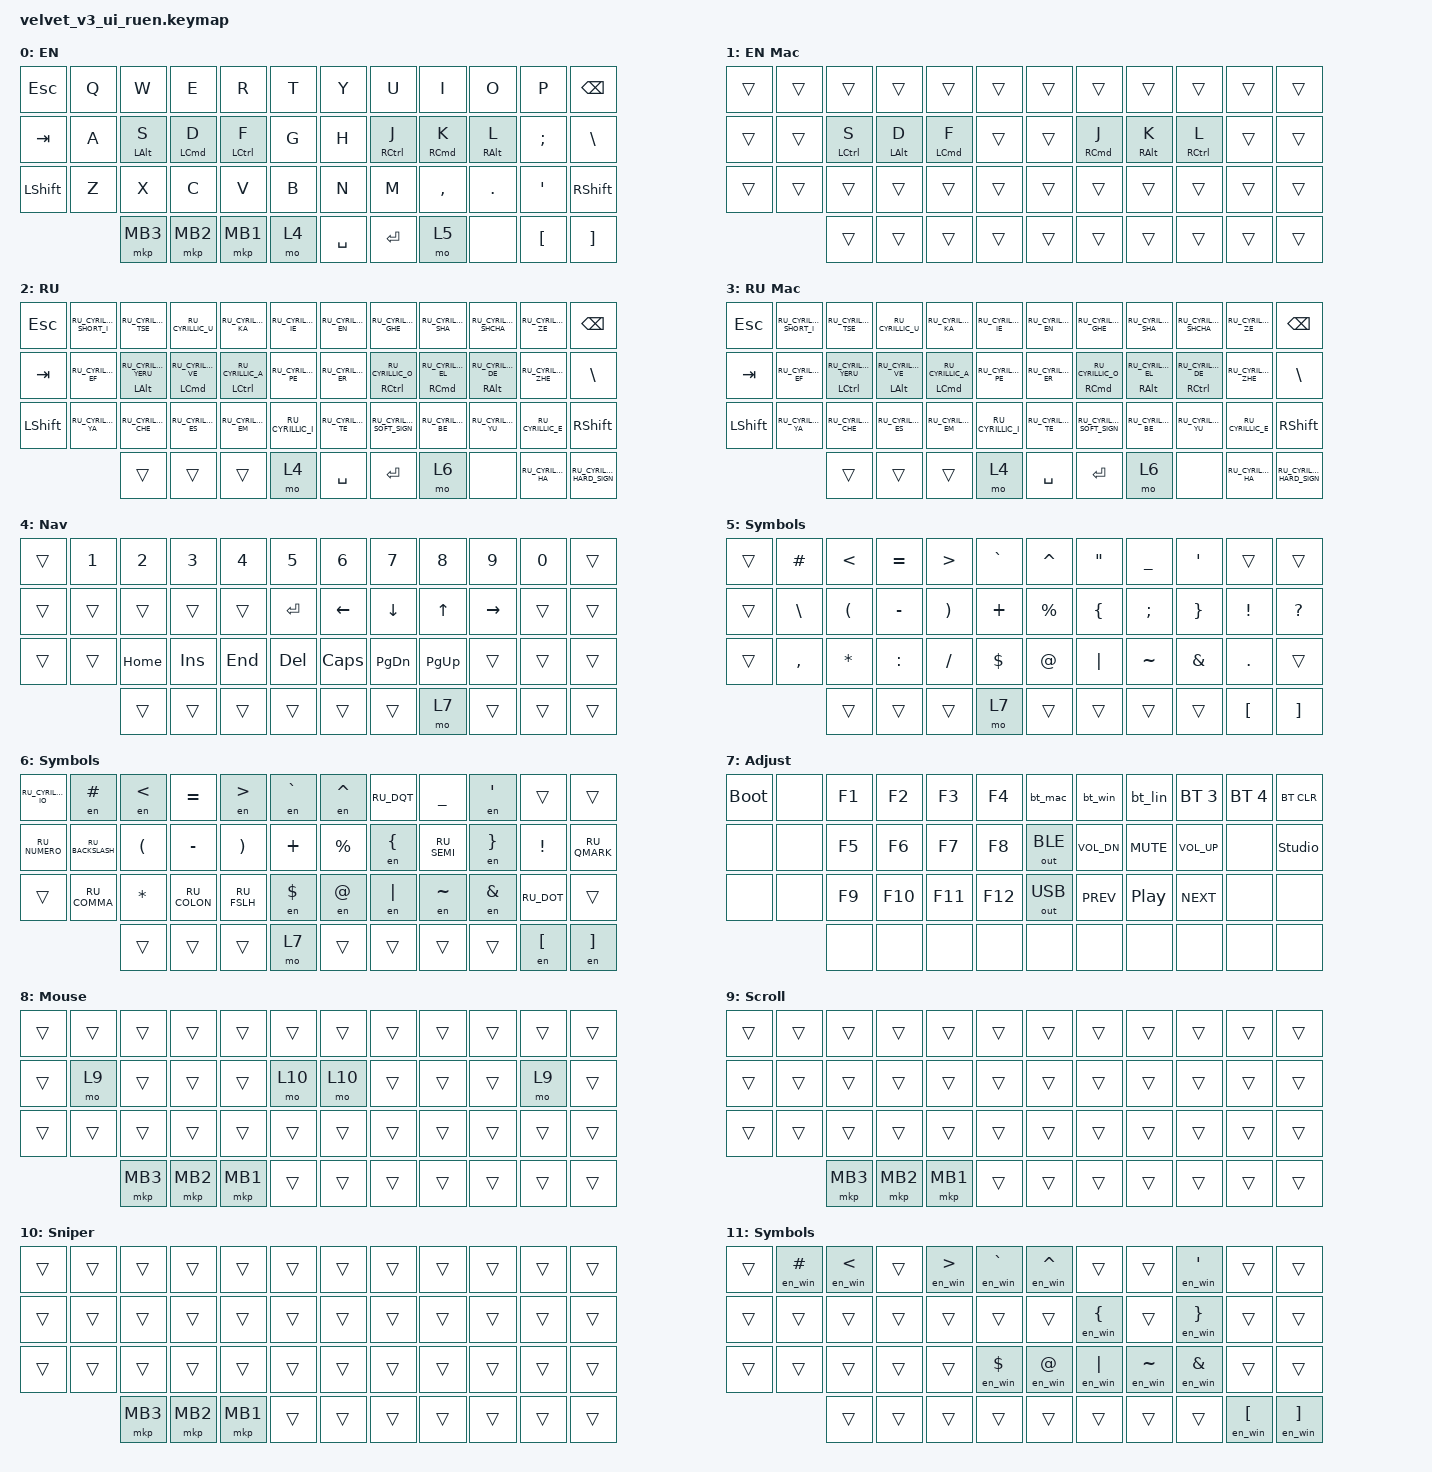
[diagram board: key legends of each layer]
#include "keys_ru.h"
#include <dt-bindings/zmk/input_transform.h>
#include <input/processors.dtsi>
#include <zephyr/dt-bindings/input/input-event-codes.h>
#include <behaviors.dtsi>
#include <dt-bindings/zmk/bt.h>
#include <dt-bindings/zmk/keys.h>
#include <dt-bindings/zmk/outputs.h>
#include <dt-bindings/zmk/pointing.h>

/*
 * Layers: 0 en_pc, 1 en_mac, 2 ru_pc, 3 ru_mac, 4 nav, 5 sym_en, 6 sym_ru,
 * 7 adj, 8 mouse, 9 scroll, 10 sniper, 11 sym_ru_win (conditional).
 *
 * en_pc/en_mac and ru_pc/ru_mac differ only in home-row mods. The primary
 * shortcut modifier sits under the index finger on every OS:
 *   Mac: ring=Ctrl  middle=Opt  index=Cmd
 *   PC:  ring=Alt   middle=Win  index=Ctrl
 *
 * Language is selected absolutely, never toggled: F18 = EN, F19 = RU.
 * macOS maps them to input sources via Karabiner-Elements
 * (select_input_source). PC layers instead send Ctrl+Shift+1 = EN,
 * Ctrl+Shift+2 = RU: Windows' native per-layout hotkeys.
 */

/ {
    behaviors {
        cap_sen: cap_sen {
            compatible = "zmk,behavior-hold-tap";
            label = "CAP_SEN";
            bindings = <&mo>, <&mkp>;

            #binding-cells = <2>;
            tapping-term-ms = <150>;
            hold-while-undecided;
        };

        mouse_layer: mouse_layer {
            compatible = "zmk,behavior-sticky-key";
            label = "MOUSE_LAYER";
            bindings = <&mo>;
            #binding-cells = <1>;
            release-after-ms = <200>;
        };

        zip_auto_mouse: zip_auto_mouse {
            compatible = "zmk,input-processor-temp-layer";
            #input-processor-cells = <2>;
            require-prior-idle-ms = <150>;
            excluded-positions = <>;
        };

        hrm_left: hrm_left {
            compatible = "zmk,behavior-hold-tap";
            label = "HRM_LEFT";
            bindings = <&kp>, <&kp>;

            #binding-cells = <2>;
            tapping-term-ms = <150>;
            flavor = "balanced";
        };

        hrm_right: hrm_right {
            compatible = "zmk,behavior-hold-tap";
            label = "HRM_RIGHT";
            bindings = <&kp>, <&kp>;

            #binding-cells = <2>;
            tapping-term-ms = <150>;
            flavor = "balanced";
        };
    };

    combos {
        compatible = "zmk,combos";

        cmbru_pc {
            bindings = <&layer_ru_pc>;
            key-positions = <3 4>;
            layers = <0>;
        };

        cmbru_mac {
            bindings = <&layer_ru_mac>;
            key-positions = <3 4>;
            layers = <1>;
        };

        cmben_pc {
            bindings = <&layer_en_pc>;
            key-positions = <3 4>;
            layers = <2>;
        };

        cmben_mac {
            bindings = <&layer_en_mac>;
            key-positions = <3 4>;
            layers = <3>;
        };
    };

    macros {
        layer_en_pc: layer_en_pc {
            compatible = "zmk,behavior-macro";
            #binding-cells = <0>;
            bindings = <&to 0 &kp LC(LS(N1))>;
            label = "LAYER_EN_PC";
            wait-ms = <0>;
            tap-ms = <30>;
        };

        layer_en_mac: layer_en_mac {
            compatible = "zmk,behavior-macro";
            #binding-cells = <0>;
            bindings = <&to 1 &kp F18>;
            label = "LAYER_EN_MAC";
            wait-ms = <0>;
            tap-ms = <30>;
        };

        layer_ru_pc: layer_ru_pc {
            compatible = "zmk,behavior-macro";
            #binding-cells = <0>;
            bindings = <&to 2 &kp LC(LS(N2))>;
            label = "LAYER_RU_PC";
            wait-ms = <0>;
            tap-ms = <30>;
        };

        layer_ru_mac: layer_ru_mac {
            compatible = "zmk,behavior-macro";
            #binding-cells = <0>;
            bindings = <&to 3 &kp F19>;
            label = "LAYER_RU_MAC";
            wait-ms = <0>;
            tap-ms = <30>;
        };

        /* Selecting a host also sets its OS-mods (Ctrl/Cmd swap comes from
         * which base layer is active) and resets language to EN — &to is
         * absolute, so the result never depends on prior state. */
        bt_mac: bt_mac {
            compatible = "zmk,behavior-macro";
            #binding-cells = <0>;
            bindings = <&bt BT_SEL 0 &to 1 &kp F18>;
            label = "BT_MAC";
            wait-ms = <0>;
            tap-ms = <30>;
        };

        bt_win: bt_win {
            compatible = "zmk,behavior-macro";
            #binding-cells = <0>;
            bindings = <&bt BT_SEL 1 &to 0 &kp LC(LS(N1))>;
            label = "BT_WIN";
            wait-ms = <0>;
            tap-ms = <30>;
        };

        bt_lin: bt_lin {
            compatible = "zmk,behavior-macro";
            #binding-cells = <0>;
            bindings = <&bt BT_SEL 2 &to 0 &kp LC(LS(N1))>;
            label = "BT_LIN";
            wait-ms = <0>;
            tap-ms = <30>;
        };

        /* Symbols the RU layout has no keys for at all ({ } @ # $ ~ ^ & | [ ] < >):
         * flip input source to EN, tap the symbol, flip back. */
        en: en {
            compatible = "zmk,behavior-macro-one-param";
            #binding-cells = <1>;
            bindings =
                /* macOS switches input source asynchronously; without this
                 * the symbol lands before the switch and comes out Cyrillic.
                 * Must precede the switch: wait-time applies after each later step. */
                <&macro_wait_time 100>,
                <&kp F18>,
                <&macro_press>,
                <&macro_param_1to1 &kp MACRO_PLACEHOLDER>,
                <&macro_pause_for_release>,
                <&macro_release>,
                <&macro_param_1to1 &kp MACRO_PLACEHOLDER>,
                <&macro_tap>,
                <&kp F19>;

            label = "EN";
            wait-ms = <0>;
            tap-ms = <30>;
        };

        /* Same as &en, for ru_pc: Windows has native per-layout hotkeys. */
        en_win: en_win {
            compatible = "zmk,behavior-macro-one-param";
            #binding-cells = <1>;
            bindings =
                /* macOS switches input source asynchronously; without this
                 * the symbol lands before the switch and comes out Cyrillic.
                 * Must precede the switch: wait-time applies after each later step. */
                <&macro_wait_time 100>,
                <&kp LC(LS(N1))>,
                <&macro_press>,
                <&macro_param_1to1 &kp MACRO_PLACEHOLDER>,
                <&macro_pause_for_release>,
                <&macro_release>,
                <&macro_param_1to1 &kp MACRO_PLACEHOLDER>,
                <&macro_tap>,
                <&kp LC(LS(N2))>;

            label = "EN_WIN";
            wait-ms = <0>;
            tap-ms = <30>;
        };
    };

    conditional_layers {
        compatible = "zmk,conditional-layers";

        /* ru_pc + sym_ru -> sym_ru_win: swaps &en for &en_win on PC. */
        sym_ru_win {
            if-layers = <2 6>;
            then-layer = <11>;
        };
    };

    keymap {
        compatible = "zmk,keymap";

        en_pc {
            bindings = <
&kp ESC    &kp Q  &kp W                     &kp E                 &kp R                     &kp T                        &kp Y  &kp U                       &kp I                   &kp O                       &kp P     &kp BSPC
&kp TAB    &kp A  &hrm_left LEFT_ALT S  &hrm_left LEFT_COMMAND D  &hrm_left LEFT_CONTROL F  &kp G                        &kp H  &hrm_right RIGHT_CONTROL J  &hrm_right RIGHT_COMMAND K  &hrm_right RIGHT_ALT L  &kp SEMI  &kp BSLH
&kp LSHFT  &kp Z  &kp X                     &kp C                 &kp V                     &kp B                        &kp N  &kp M                       &kp COMMA               &kp DOT                     &kp SQT   &kp RSHFT
                  &mkp MB3                  &mkp MB2              &mkp MB1                  &mo 4  &kp SPACE    &kp RET  &mo 5  &none                       &kp LBKT                &kp RBKT
            >;

            display-name = "EN";
        };

        en_mac {
            bindings = <
&trans     &trans  &trans                    &trans                &trans                    &trans                       &trans  &trans                      &trans                  &trans                      &trans    &trans
&trans     &trans  &hrm_left LEFT_CONTROL S  &hrm_left LEFT_ALT D  &hrm_left LEFT_COMMAND F  &trans                       &trans  &hrm_right RIGHT_COMMAND J  &hrm_right RIGHT_ALT K  &hrm_right RIGHT_CONTROL L  &trans    &trans
&trans     &trans  &trans                    &trans                &trans                    &trans                       &trans  &trans                      &trans                  &trans                      &trans    &trans
                   &trans                    &trans                &trans                    &trans &trans       &trans   &trans &trans                      &trans                  &trans
            >;

            display-name = "EN Mac";
        };

        ru_pc {
            bindings = <
&kp ESC    &kp RU_CYRILLIC_SHORT_I  &kp RU_CYRILLIC_TSE                      &kp RU_CYRILLIC_U                  &kp RU_CYRILLIC_KA                    &kp RU_CYRILLIC_IE                        &kp RU_CYRILLIC_EN  &kp RU_CYRILLIC_GHE                     &kp RU_CYRILLIC_SHA                  &kp RU_CYRILLIC_SHCHA                    &kp RU_CYRILLIC_ZE   &kp BSPC
&kp TAB    &kp RU_CYRILLIC_EF       &hrm_left LEFT_ALT RU_CYRILLIC_YERU  &hrm_left LEFT_COMMAND RU_CYRILLIC_VE  &hrm_left LEFT_CONTROL RU_CYRILLIC_A  &kp RU_CYRILLIC_PE                        &kp RU_CYRILLIC_ER  &hrm_right RIGHT_CONTROL RU_CYRILLIC_O  &hrm_right RIGHT_COMMAND RU_CYRILLIC_EL  &hrm_right RIGHT_ALT RU_CYRILLIC_DE  &kp RU_CYRILLIC_ZHE  &kp BSLH
&kp LSHFT  &kp RU_CYRILLIC_YA       &kp RU_CYRILLIC_CHE                      &kp RU_CYRILLIC_ES                 &kp RU_CYRILLIC_EM                    &kp RU_CYRILLIC_I                         &kp RU_CYRILLIC_TE  &kp RU_CYRILLIC_SOFT_SIGN               &kp RU_CYRILLIC_BE                   &kp RU_CYRILLIC_YU                       &kp RU_CYRILLIC_E    &kp RSHFT
                                    &trans                                   &trans                             &trans                                &mo 4                &kp SPACE    &kp RET  &mo 6                &none                                   &kp RU_CYRILLIC_HA                   &kp RU_CYRILLIC_HARD_SIGN
            >;

            display-name = "RU";
        };

        ru_mac {
            bindings = <
&kp ESC    &kp RU_CYRILLIC_SHORT_I  &kp RU_CYRILLIC_TSE                      &kp RU_CYRILLIC_U                  &kp RU_CYRILLIC_KA                    &kp RU_CYRILLIC_IE                        &kp RU_CYRILLIC_EN  &kp RU_CYRILLIC_GHE                     &kp RU_CYRILLIC_SHA                  &kp RU_CYRILLIC_SHCHA                    &kp RU_CYRILLIC_ZE   &kp BSPC
&kp TAB    &kp RU_CYRILLIC_EF       &hrm_left LEFT_CONTROL RU_CYRILLIC_YERU  &hrm_left LEFT_ALT RU_CYRILLIC_VE  &hrm_left LEFT_COMMAND RU_CYRILLIC_A  &kp RU_CYRILLIC_PE                        &kp RU_CYRILLIC_ER  &hrm_right RIGHT_COMMAND RU_CYRILLIC_O  &hrm_right RIGHT_ALT RU_CYRILLIC_EL  &hrm_right RIGHT_CONTROL RU_CYRILLIC_DE  &kp RU_CYRILLIC_ZHE  &kp BSLH
&kp LSHFT  &kp RU_CYRILLIC_YA       &kp RU_CYRILLIC_CHE                      &kp RU_CYRILLIC_ES                 &kp RU_CYRILLIC_EM                    &kp RU_CYRILLIC_I                         &kp RU_CYRILLIC_TE  &kp RU_CYRILLIC_SOFT_SIGN               &kp RU_CYRILLIC_BE                   &kp RU_CYRILLIC_YU                       &kp RU_CYRILLIC_E    &kp RSHFT
                                    &trans                                   &trans                             &trans                                &mo 4                &kp SPACE    &kp RET  &mo 6                &none                                   &kp RU_CYRILLIC_HA                   &kp RU_CYRILLIC_HARD_SIGN
            >;

            display-name = "RU Mac";
        };

        nav {
            bindings = <
&trans  &kp N1  &kp N2    &kp N3   &kp N4   &kp N5                     &kp N6    &kp N7         &kp N8       &kp N9     &kp N0  &trans
&trans  &trans  &trans    &trans   &trans   &kp RET                    &kp LEFT  &kp DOWN       &kp UP       &kp RIGHT  &trans  &trans
&trans  &trans  &kp HOME  &kp INS  &kp END  &kp DEL                    &kp CLCK  &kp PAGE_DOWN  &kp PAGE_UP  &trans     &trans  &trans
                &trans    &trans   &trans   &trans   &trans    &trans  &mo 7     &trans         &trans       &trans
            >;

            display-name = "Nav";
        };

        sym_en {
            bindings = <
&trans  &kp HASH   &kp LT    &kp EQUAL  &kp GT    &kp GRAVE                    &kp CARET  &kp DQT   &kp UNDER  &kp SQT   &trans    &trans
&trans  &kp BSLH   &kp LPAR  &kp MINUS  &kp RPAR  &kp PLUS                     &kp PRCNT  &kp LBRC  &kp SEMI   &kp RBRC  &kp EXCL  &kp QUESTION
&trans  &kp COMMA  &kp STAR  &kp COLON  &kp FSLH  &kp DLLR                     &kp AT     &kp PIPE  &kp TILDE  &kp AMPS  &kp DOT   &trans
                   &trans    &trans     &trans    &mo 7      &trans    &trans  &trans     &trans    &kp LBKT   &kp RBKT
            >;

            display-name = "Symbols";
        };

        sym_ru {
            bindings = <
&kp RU_CYRILLIC_IO  &en HASH          &en LT    &kp EQUAL     &en GT       &en GRAVE                    &en CARET  &kp RU_DQT  &kp UNDER    &en SQT   &trans      &trans
&kp RU_NUMERO       &kp RU_BACKSLASH  &kp LPAR  &kp MINUS     &kp RPAR     &kp PLUS                     &kp PRCNT  &en LBRC    &kp RU_SEMI  &en RBRC  &kp EXCL    &kp RU_QMARK
&trans              &kp RU_COMMA      &kp STAR  &kp RU_COLON  &kp RU_FSLH  &en DLLR                     &en AT     &en PIPE    &en TILDE    &en AMPS  &kp RU_DOT  &trans
                                      &trans    &trans        &trans       &mo 7      &trans    &trans  &trans     &trans      &en LBKT     &en RBKT
            >;

            display-name = "Symbols";
        };

        adj {
            bindings = <
&bootloader  &none  &kp F1  &kp F2   &kp F3   &kp F4                   &bt_mac       &bt_win       &bt_lin           &bt BT_SEL 3  &bt BT_SEL 4  &bt BT_CLR
&none        &none  &kp F5  &kp F6   &kp F7   &kp F8                   &out OUT_BLE  &kp C_VOL_DN  &kp C_MUTE        &kp C_VOL_UP  &none         &studio_unlock
&none        &none  &kp F9  &kp F10  &kp F11  &kp F12                  &out OUT_USB  &kp C_PREV    &kp C_PLAY_PAUSE  &kp C_NEXT    &none         &none
                    &none   &none    &none    &none    &none    &none  &none         &none         &none             &none
            >;

            display-name = "Adjust";
        };

        mouse {
            bindings = <
&trans  &trans  &trans    &trans    &trans    &trans                    &trans  &trans  &trans  &trans  &trans  &trans
&trans  &mo 9   &trans    &trans    &trans    &mo 10                    &mo 10  &trans  &trans  &trans  &mo 9   &trans
&trans  &trans  &trans    &trans    &trans    &trans                    &trans  &trans  &trans  &trans  &trans  &trans
                &mkp MB3  &mkp MB2  &mkp MB1  &trans  &trans    &trans  &trans  &trans  &trans  &trans
            >;

            display-name = "Mouse";
        };

        scroll {
            bindings = <
&trans  &trans  &trans    &trans    &trans    &trans                    &trans  &trans  &trans  &trans  &trans  &trans
&trans  &trans  &trans    &trans    &trans    &trans                    &trans  &trans  &trans  &trans  &trans  &trans
&trans  &trans  &trans    &trans    &trans    &trans                    &trans  &trans  &trans  &trans  &trans  &trans
                &mkp MB3  &mkp MB2  &mkp MB1  &trans  &trans    &trans  &trans  &trans  &trans  &trans
            >;

            display-name = "Scroll";
        };

        sniper {
            bindings = <
&trans  &trans  &trans    &trans    &trans    &trans                    &trans  &trans  &trans  &trans  &trans  &trans
&trans  &trans  &trans    &trans    &trans    &trans                    &trans  &trans  &trans  &trans  &trans  &trans
&trans  &trans  &trans    &trans    &trans    &trans                    &trans  &trans  &trans  &trans  &trans  &trans
                &mkp MB3  &mkp MB2  &mkp MB1  &trans  &trans    &trans  &trans  &trans  &trans  &trans
            >;

            display-name = "Sniper";
        };

        sym_ru_win {
            bindings = <
&trans  &en_win HASH  &en_win LT  &trans  &en_win GT  &en_win GRAVE  &en_win CARET  &trans  &trans  &en_win SQT  &trans  &trans
&trans  &trans  &trans  &trans  &trans  &trans  &trans  &en_win LBRC  &trans  &en_win RBRC  &trans  &trans
&trans  &trans  &trans  &trans  &trans  &en_win DLLR  &en_win AT  &en_win PIPE  &en_win TILDE  &en_win AMPS  &trans  &trans
                                      &trans  &trans  &trans  &trans  &trans  &trans  &trans  &trans  &en_win LBKT  &en_win RBKT
            >;

            display-name = "Symbols";
        };
    };
};

&trackball { cpi = <1000>; };

&trackball_listener {
    input-processors = <&zip_auto_mouse 8 500>, <&zip_xy_scaler 9 20>;

    movement {
        layers = <8>;
        input-processors = <&zip_xy_scaler 9 20>;
    };

    scroller {
        layers = <9>;
        input-processors =
            <&zip_xy_transform INPUT_TRANSFORM_Y_INVERT>,
            <&zip_xy_scaler 1 32>,
            <&zip_xy_to_scroll_mapper>;
    };

    sniper {
        layers = <10>;
        input-processors = <&zip_xy_scaler 1 4>;
    };
};
